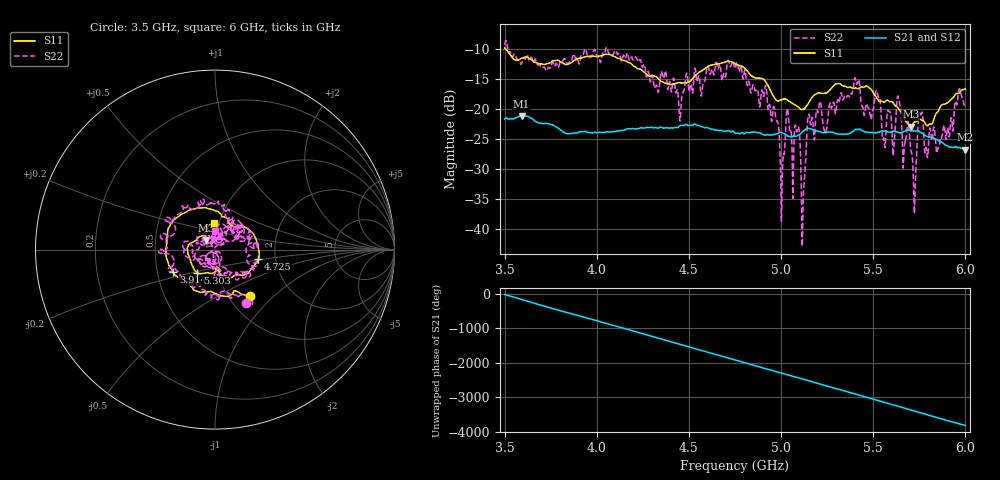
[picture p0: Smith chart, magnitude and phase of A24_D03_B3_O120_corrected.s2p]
! Created with skrf 1.9.0 (http://scikit-rf.org).
# Hz S RI R 50.0
!freq ReS11 ImS11 ReS21 ImS21 ReS12 ImS12 ReS22 ImS22
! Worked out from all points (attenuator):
!   1601 points, 3.5 GHz to 6 GHz, reference 50 ohm
!   highest |S21| = -21.14 dB at 3.592 GHz (marker M1); lowest = -26.7 dB at 5.998 GHz (marker M2)
!   lowest |S11| = -23.0 dB at 5.703 GHz (marker M3), VSWR 1.15, Z = 45.1 + j4.69 ohm
!   |S11| at or under -10 dB: 3.505 GHz to end of sweep
!   |S22| runs from -42.8 to -8.6 dB; largest |S21 - S12| = 0.00099
!   S11 on the Smith chart (normalised r, x): 3.5 GHz: 1.25, -0.72; 3.914 GHz: 0.61, -0.16; 4.725 GHz: 1.63, -0.19; 5.303 GHz: 0.80, -0.21; 6 GHz: 0.94, +0.28
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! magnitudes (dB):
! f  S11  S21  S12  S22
! 3.5 GHz  -9.9  -21.7  -21.7  -9.3
! 3.592 GHz  -11.6  -21.1  -21.1  -12.5
! 3.914 GHz  -11.6  -23.8  -23.7  -11.2
! 3.917 GHz  -11.5  -23.8  -23.7  -10.9
! 4.334 GHz  -15.0  -23.2  -23.1  -17.2
! 4.725 GHz  -12.1  -23.8  -23.7  -13.0
! 4.75 GHz  -12.5  -24.0  -23.9  -13.3
! 4.969 GHz  -18.3  -24.2  -24.1  -21.1
! 5.006 GHz  -18.4  -23.9  -23.9  -31.3
! 5.034 GHz  -18.5  -24.5  -24.4  -20.0
! 5.088 GHz  -19.5  -24.5  -24.4  -23.7
! 5.119 GHz  -20.1  -23.7  -23.7  -36.6
! 5.145 GHz  -19.2  -23.2  -23.2  -21.5
! 5.167 GHz  -18.1  -23.4  -23.3  -21.5
! 5.303 GHz  -15.8  -24.1  -24.1  -18.9
! 5.584 GHz  -18.7  -23.8  -23.8  -20.3
! 5.703 GHz  -23.0  -23.6  -23.6  -26.5
! 5.723 GHz  -22.2  -23.6  -23.6  -37.4
! 5.756 GHz  -21.7  -23.9  -23.8  -21.2
! 5.787 GHz  -22.7  -24.5  -24.4  -26.5
! 5.998 GHz  -16.7  -26.7  -26.7  -19.6
! 6 GHz  -16.6  -26.7  -26.7  -19.5
